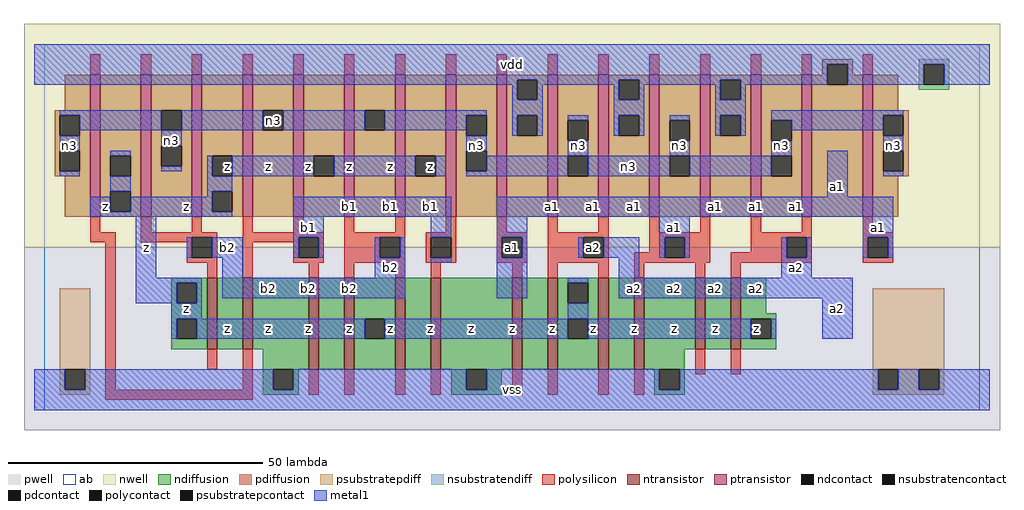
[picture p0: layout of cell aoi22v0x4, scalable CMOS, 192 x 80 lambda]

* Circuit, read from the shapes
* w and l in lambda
.subckt aoi22v0x4 a1 a2 b1 b2 n3 vdd vss z
M1 n1 b2 z vss nfet w=14 l=2
M2 vss b1 n1 vss nfet w=14 l=2
M3 n2 b1 vss vss nfet w=18 l=2
M4 z b2 n2 vss nfet w=18 l=2
M5 n4 b2 z vss nfet w=18 l=2
M6 vss b1 n4 vss nfet w=18 l=2
M7 n5 a1 vss vss nfet w=18 l=2
M8 z a2 n5 vss nfet w=18 l=2
M9 n6 a2 z vss nfet w=18 l=2
M10 vss a1 n6 vss nfet w=18 l=2
M11 n7 a1 vss vss nfet w=14 l=2
M12 z a2 n7 vss nfet w=14 l=2
M13 z b1 n3 vdd pfet w=28 l=2 m=4
M14 n3 b2 z vdd pfet w=28 l=2 m=4
M15 vdd a1 n3 vdd pfet w=28 l=2 m=4
M16 n3 a2 vdd vdd pfet w=28 l=2 m=4
.ends

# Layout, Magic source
magic
tech scmos
<< ab >>
rect 0 0 184 72
<< pwell >>
rect -4 -4 188 32
<< nwell >>
rect -4 32 188 76
<< polysilicon >>
rect 9 66 11 70
rect 19 66 21 70
rect 29 66 31 70
rect 39 66 41 70
rect 49 66 51 70
rect 59 66 61 70
rect 69 66 71 70
rect 79 66 81 70
rect 89 66 91 70
rect 99 66 101 70
rect 109 66 111 70
rect 119 66 121 70
rect 129 66 131 70
rect 139 66 141 70
rect 149 66 151 70
rect 161 66 163 70
rect 9 35 11 38
rect 19 35 21 38
rect 29 35 31 38
rect 39 35 41 38
rect 49 35 51 38
rect 59 35 61 38
rect 69 35 71 38
rect 79 35 81 38
rect 9 33 14 35
rect 19 34 34 35
rect 19 33 29 34
rect 12 4 14 33
rect 28 30 29 33
rect 33 30 34 34
rect 28 29 34 30
rect 32 26 34 29
rect 39 34 55 35
rect 39 33 50 34
rect 39 26 41 33
rect 49 30 50 33
rect 54 30 55 34
rect 49 29 55 30
rect 59 34 71 35
rect 59 30 66 34
rect 70 30 71 34
rect 59 29 71 30
rect 75 34 81 35
rect 75 30 76 34
rect 80 30 81 34
rect 75 29 81 30
rect 89 35 91 38
rect 99 35 101 38
rect 109 35 111 38
rect 89 34 95 35
rect 89 30 90 34
rect 94 30 95 34
rect 89 29 95 30
rect 99 34 111 35
rect 99 30 106 34
rect 110 30 111 34
rect 119 35 121 38
rect 129 35 131 38
rect 119 34 131 35
rect 119 31 122 34
rect 99 29 111 30
rect 52 26 54 29
rect 59 26 61 29
rect 69 26 71 29
rect 76 26 78 29
rect 92 26 94 29
rect 99 26 101 29
rect 109 26 111 29
rect 116 30 122 31
rect 126 30 131 34
rect 139 35 141 38
rect 149 35 151 38
rect 139 34 151 35
rect 139 31 146 34
rect 116 29 131 30
rect 135 30 146 31
rect 150 30 151 34
rect 135 29 151 30
rect 161 35 163 38
rect 161 34 167 35
rect 161 30 162 34
rect 166 30 167 34
rect 161 29 167 30
rect 116 26 118 29
rect 128 26 130 29
rect 135 26 137 29
rect 32 8 34 12
rect 39 4 41 12
rect 12 2 41 4
rect 52 3 54 8
rect 59 3 61 8
rect 69 3 71 8
rect 76 3 78 8
rect 92 3 94 8
rect 99 3 101 8
rect 109 3 111 8
rect 116 3 118 8
rect 128 7 130 12
rect 135 7 137 12
<< ndiffusion >>
rect 25 25 32 26
rect 25 21 26 25
rect 30 21 32 25
rect 25 18 32 21
rect 25 14 26 18
rect 30 14 32 18
rect 25 12 32 14
rect 34 12 39 26
rect 41 12 52 26
rect 43 8 52 12
rect 54 8 59 26
rect 61 18 69 26
rect 61 14 63 18
rect 67 14 69 18
rect 61 8 69 14
rect 71 8 76 26
rect 78 8 92 26
rect 94 8 99 26
rect 101 25 109 26
rect 101 21 103 25
rect 107 21 109 25
rect 101 18 109 21
rect 101 14 103 18
rect 107 14 109 18
rect 101 8 109 14
rect 111 8 116 26
rect 118 12 128 26
rect 130 12 135 26
rect 137 19 142 26
rect 137 18 144 19
rect 137 14 139 18
rect 143 14 144 18
rect 137 12 144 14
rect 118 8 126 12
rect 43 4 45 8
rect 49 4 50 8
rect 43 3 50 4
rect 80 4 83 8
rect 87 4 90 8
rect 80 3 90 4
rect 120 4 121 8
rect 125 4 126 8
rect 120 3 126 4
<< pdiffusion >>
rect 153 68 159 69
rect 153 66 154 68
rect 4 59 9 66
rect 2 58 9 59
rect 2 54 3 58
rect 7 54 9 58
rect 2 51 9 54
rect 2 47 3 51
rect 7 47 9 51
rect 2 46 9 47
rect 4 38 9 46
rect 11 50 19 66
rect 11 46 13 50
rect 17 46 19 50
rect 11 43 19 46
rect 11 39 13 43
rect 17 39 19 43
rect 11 38 19 39
rect 21 59 29 66
rect 21 55 23 59
rect 27 55 29 59
rect 21 52 29 55
rect 21 48 23 52
rect 27 48 29 52
rect 21 38 29 48
rect 31 50 39 66
rect 31 46 33 50
rect 37 46 39 50
rect 31 43 39 46
rect 31 39 33 43
rect 37 39 39 43
rect 31 38 39 39
rect 41 59 49 66
rect 41 55 43 59
rect 47 55 49 59
rect 41 38 49 55
rect 51 50 59 66
rect 51 46 53 50
rect 57 46 59 50
rect 51 38 59 46
rect 61 59 69 66
rect 61 55 63 59
rect 67 55 69 59
rect 61 38 69 55
rect 71 50 79 66
rect 71 46 73 50
rect 77 46 79 50
rect 71 38 79 46
rect 81 58 89 66
rect 81 54 83 58
rect 87 54 89 58
rect 81 51 89 54
rect 81 47 83 51
rect 87 47 89 51
rect 81 38 89 47
rect 91 65 99 66
rect 91 61 93 65
rect 97 61 99 65
rect 91 58 99 61
rect 91 54 93 58
rect 97 54 99 58
rect 91 38 99 54
rect 101 57 109 66
rect 101 53 103 57
rect 107 53 109 57
rect 101 50 109 53
rect 101 46 103 50
rect 107 46 109 50
rect 101 38 109 46
rect 111 65 119 66
rect 111 61 113 65
rect 117 61 119 65
rect 111 58 119 61
rect 111 54 113 58
rect 117 54 119 58
rect 111 38 119 54
rect 121 57 129 66
rect 121 53 123 57
rect 127 53 129 57
rect 121 50 129 53
rect 121 46 123 50
rect 127 46 129 50
rect 121 38 129 46
rect 131 65 139 66
rect 131 61 133 65
rect 137 61 139 65
rect 131 58 139 61
rect 131 54 133 58
rect 137 54 139 58
rect 131 38 139 54
rect 141 57 149 66
rect 141 53 143 57
rect 147 53 149 57
rect 141 50 149 53
rect 141 46 143 50
rect 147 46 149 50
rect 141 38 149 46
rect 151 64 154 66
rect 158 66 159 68
rect 158 64 161 66
rect 151 38 161 64
rect 163 59 168 66
rect 163 58 170 59
rect 163 54 165 58
rect 169 54 170 58
rect 163 51 170 54
rect 163 47 165 51
rect 169 47 170 51
rect 163 46 170 47
rect 163 38 168 46
<< metal1 >>
rect -2 68 186 72
rect -2 65 154 68
rect -2 64 93 65
rect 92 61 93 64
rect 97 64 113 65
rect 97 61 98 64
rect 3 58 23 59
rect 7 55 23 58
rect 27 55 43 59
rect 47 55 63 59
rect 67 58 87 59
rect 67 55 83 58
rect 3 51 7 54
rect 23 52 27 55
rect 3 46 7 47
rect 13 50 17 51
rect 92 58 98 61
rect 112 61 113 64
rect 117 64 133 65
rect 117 61 118 64
rect 112 58 118 61
rect 132 61 133 64
rect 137 64 154 65
rect 158 64 173 68
rect 177 64 186 68
rect 137 61 138 64
rect 132 58 138 61
rect 92 54 93 58
rect 97 54 98 58
rect 103 57 107 58
rect 83 51 87 54
rect 23 47 27 48
rect 13 43 17 46
rect 9 39 13 42
rect 32 46 33 50
rect 37 46 53 50
rect 57 46 73 50
rect 77 46 79 50
rect 112 54 113 58
rect 117 54 118 58
rect 123 57 127 58
rect 103 50 107 53
rect 132 54 133 58
rect 137 54 138 58
rect 143 58 169 59
rect 143 57 165 58
rect 123 50 127 53
rect 147 55 165 57
rect 143 50 147 53
rect 165 51 169 54
rect 87 47 103 50
rect 83 46 103 47
rect 107 46 123 50
rect 127 46 143 50
rect 32 43 37 46
rect 32 42 33 43
rect 17 39 33 42
rect 154 42 158 51
rect 165 46 169 47
rect 9 38 37 39
rect 49 38 80 42
rect 18 26 22 38
rect 49 34 55 38
rect 76 34 80 38
rect 28 30 29 34
rect 33 30 39 34
rect 49 30 50 34
rect 54 30 55 34
rect 65 30 66 34
rect 70 30 71 34
rect 35 26 39 30
rect 65 26 71 30
rect 76 29 80 30
rect 89 38 167 42
rect 89 34 95 38
rect 121 34 127 38
rect 161 34 167 38
rect 89 30 90 34
rect 94 30 95 34
rect 105 30 106 34
rect 110 30 117 34
rect 121 30 122 34
rect 126 30 127 34
rect 145 30 146 34
rect 150 30 151 34
rect 161 30 162 34
rect 166 30 167 34
rect 18 25 31 26
rect 18 21 26 25
rect 30 21 31 25
rect 35 22 71 26
rect 89 22 95 30
rect 113 26 117 30
rect 145 26 151 30
rect 103 25 107 26
rect 25 18 31 21
rect 113 22 159 26
rect 103 18 107 21
rect 25 14 26 18
rect 30 14 63 18
rect 67 14 103 18
rect 107 14 139 18
rect 143 14 144 18
rect 153 14 159 22
rect -2 4 4 8
rect 8 4 45 8
rect 49 4 83 8
rect 87 4 121 8
rect 125 4 164 8
rect 168 4 172 8
rect 176 4 186 8
rect -2 0 186 4
<< ntransistor >>
rect 32 12 34 26
rect 39 12 41 26
rect 52 8 54 26
rect 59 8 61 26
rect 69 8 71 26
rect 76 8 78 26
rect 92 8 94 26
rect 99 8 101 26
rect 109 8 111 26
rect 116 8 118 26
rect 128 12 130 26
rect 135 12 137 26
<< ptransistor >>
rect 9 38 11 66
rect 19 38 21 66
rect 29 38 31 66
rect 39 38 41 66
rect 49 38 51 66
rect 59 38 61 66
rect 69 38 71 66
rect 79 38 81 66
rect 89 38 91 66
rect 99 38 101 66
rect 109 38 111 66
rect 119 38 121 66
rect 129 38 131 66
rect 139 38 141 66
rect 149 38 151 66
rect 161 38 163 66
<< polycontact >>
rect 29 30 33 34
rect 50 30 54 34
rect 66 30 70 34
rect 76 30 80 34
rect 90 30 94 34
rect 106 30 110 34
rect 122 30 126 34
rect 146 30 150 34
rect 162 30 166 34
<< ndcontact >>
rect 26 21 30 25
rect 26 14 30 18
rect 63 14 67 18
rect 103 21 107 25
rect 103 14 107 18
rect 139 14 143 18
rect 45 4 49 8
rect 83 4 87 8
rect 121 4 125 8
<< pdcontact >>
rect 3 54 7 58
rect 3 47 7 51
rect 13 46 17 50
rect 13 39 17 43
rect 23 55 27 59
rect 23 48 27 52
rect 33 46 37 50
rect 33 39 37 43
rect 43 55 47 59
rect 53 46 57 50
rect 63 55 67 59
rect 73 46 77 50
rect 83 54 87 58
rect 83 47 87 51
rect 93 61 97 65
rect 93 54 97 58
rect 103 53 107 57
rect 103 46 107 50
rect 113 61 117 65
rect 113 54 117 58
rect 123 53 127 57
rect 123 46 127 50
rect 133 61 137 65
rect 133 54 137 58
rect 143 53 147 57
rect 143 46 147 50
rect 154 64 158 68
rect 165 54 169 58
rect 165 47 169 51
<< psubstratepcontact >>
rect 4 4 8 8
rect 164 4 168 8
rect 172 4 176 8
<< nsubstratencontact >>
rect 173 64 177 68
<< psubstratepdiff >>
rect 3 8 9 24
rect 3 4 4 8
rect 8 4 9 8
rect 3 3 9 4
rect 163 8 177 24
rect 163 4 164 8
rect 168 4 172 8
rect 176 4 177 8
rect 163 3 177 4
<< nsubstratendiff >>
rect 172 68 178 69
rect 172 64 173 68
rect 177 64 178 68
rect 172 63 178 64
<< labels >>
rlabel metal1 20 32 20 32 6 z
rlabel metal1 12 40 12 40 6 z
rlabel metal1 25 53 25 53 6 n3
rlabel metal1 5 52 5 52 6 n3
rlabel metal1 28 20 28 20 6 z
rlabel metal1 36 16 36 16 6 z
rlabel metal1 44 16 44 16 6 z
rlabel metal1 52 16 52 16 6 z
rlabel metal1 44 24 44 24 6 b2
rlabel metal1 52 24 52 24 6 b2
rlabel metal1 36 32 36 32 6 b2
rlabel metal1 52 36 52 36 6 b1
rlabel metal1 28 40 28 40 6 z
rlabel pdcontact 36 48 36 48 6 z
rlabel metal1 44 48 44 48 6 z
rlabel metal1 52 48 52 48 6 z
rlabel metal1 60 16 60 16 6 z
rlabel metal1 68 16 68 16 6 z
rlabel metal1 76 16 76 16 6 z
rlabel metal1 84 16 84 16 6 z
rlabel metal1 68 28 68 28 6 b2
rlabel metal1 60 24 60 24 6 b2
rlabel metal1 68 40 68 40 6 b1
rlabel metal1 76 40 76 40 6 b1
rlabel metal1 60 40 60 40 6 b1
rlabel metal1 68 48 68 48 6 z
rlabel pdcontact 76 48 76 48 6 z
rlabel metal1 85 52 85 52 6 n3
rlabel metal1 60 48 60 48 6 z
rlabel pdcontact 45 57 45 57 6 n3
rlabel metal1 92 4 92 4 6 vss
rlabel metal1 92 16 92 16 6 z
rlabel metal1 100 16 100 16 6 z
rlabel metal1 108 16 108 16 6 z
rlabel metal1 116 16 116 16 6 z
rlabel metal1 116 24 116 24 6 a2
rlabel polycontact 92 32 92 32 6 a1
rlabel polycontact 108 32 108 32 6 a2
rlabel metal1 100 40 100 40 6 a1
rlabel metal1 108 40 108 40 6 a1
rlabel metal1 116 40 116 40 6 a1
rlabel metal1 105 52 105 52 6 n3
rlabel metal1 92 68 92 68 6 vdd
rlabel metal1 124 16 124 16 6 z
rlabel metal1 132 16 132 16 6 z
rlabel ndcontact 140 16 140 16 6 z
rlabel metal1 132 24 132 24 6 a2
rlabel metal1 140 24 140 24 6 a2
rlabel metal1 148 28 148 28 6 a2
rlabel metal1 124 24 124 24 6 a2
rlabel metal1 132 40 132 40 6 a1
rlabel metal1 140 40 140 40 6 a1
rlabel metal1 148 40 148 40 6 a1
rlabel metal1 124 36 124 36 6 a1
rlabel metal1 145 52 145 52 6 n3
rlabel metal1 125 52 125 52 6 n3
rlabel metal1 115 48 115 48 6 n3
rlabel metal1 156 20 156 20 6 a2
rlabel metal1 164 36 164 36 6 a1
rlabel metal1 156 44 156 44 6 a1
rlabel metal1 167 52 167 52 6 n3
<< end >>
